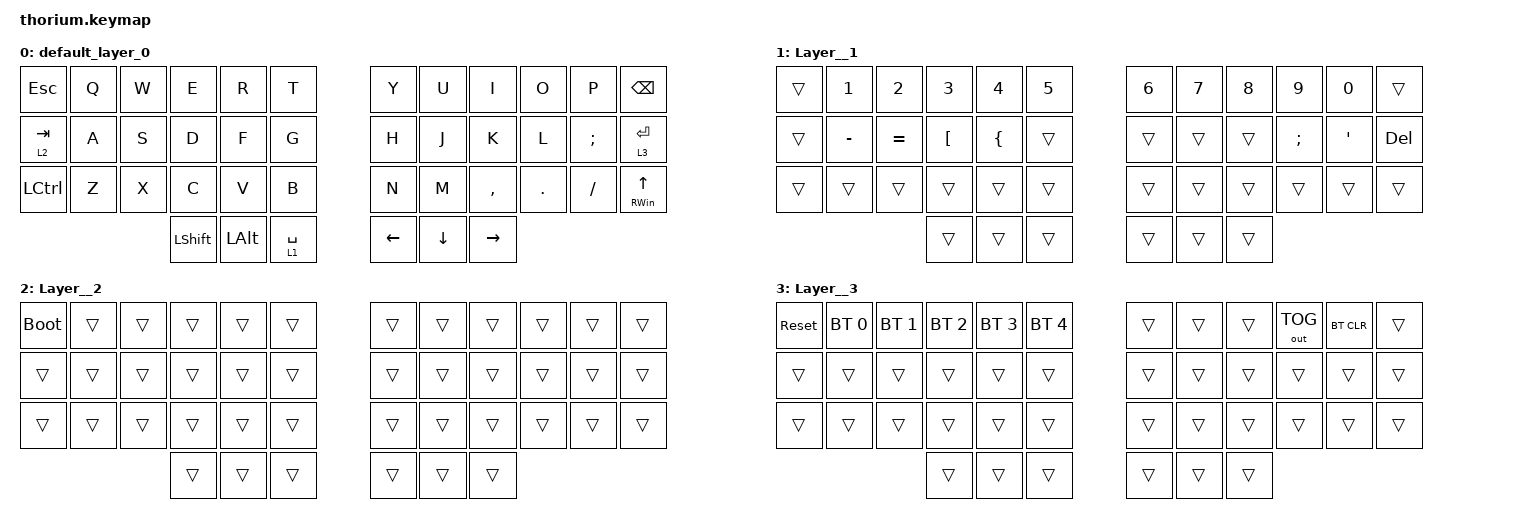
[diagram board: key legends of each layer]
/*
 * Copyright (c) 2020 The ZMK Contributors
 *
 * SPDX-License-Identifier: MIT
 */

#include <behaviors.dtsi>
#include <dt-bindings/zmk/bt.h>
#include <dt-bindings/zmk/keys.h>
#include <dt-bindings/zmk/outputs.h>

&mt {
    tapping-term-ms = <200>;
};

&lt {
    quick-tap-ms = <400>;
};

/ {
    keymap {
        compatible = "zmk,keymap";

        default_layer_0 {
            bindings = <
&kp ESC           &kp Q  &kp W  &kp E      &kp R     &kp T          &kp Y           &kp U     &kp I      &kp O    &kp P          &kp BSPC
&lt 2 TAB         &kp A  &kp S  &kp D      &kp F     &kp G          &kp H           &kp J     &kp K      &kp L    &kp SEMICOLON  &lt 3 RET
&kp LEFT_CONTROL  &kp Z  &kp X  &kp C      &kp V     &kp B          &kp N           &kp M     &kp COMMA  &kp DOT  &kp SLASH      &mt RWIN UP_ARROW
                                &kp LSHFT  &kp LALT  &lt 1 SPACE  &kp LEFT    &kp DOWN_ARROW  &kp RIGHT
            >;
        };

        Layer__1 {
            bindings = <
&trans  &kp N1     &kp N2     &kp N3    &kp N4    &kp N5    &kp N6  &kp N7  &kp N8  &kp N9    &kp N0   &trans
&trans  &kp MINUS  &kp EQUAL  &kp LBKT  &kp LBRC  &trans    &trans  &trans  &trans  &kp SEMI  &kp SQT  &kp DEL
&trans  &trans     &trans     &trans    &trans    &trans    &trans  &trans  &trans  &trans    &trans   &trans
                              &trans    &trans    &trans    &trans  &trans  &trans
            >;
        };

        Layer__2 {
            bindings = <
&bootloader  &trans  &trans  &trans  &trans  &trans    &trans  &trans  &trans  &trans  &trans  &trans
&trans       &trans  &trans  &trans  &trans  &trans    &trans  &trans  &trans  &trans  &trans  &trans
&trans       &trans  &trans  &trans  &trans  &trans    &trans  &trans  &trans  &trans  &trans  &trans
                             &trans  &trans  &trans    &trans  &trans  &trans
            >;
        };

        Layer__3 {
            bindings = <
&sys_reset  &bt BT_SEL 0  &bt BT_SEL 1  &bt BT_SEL 2  &bt BT_SEL 3  &bt BT_SEL 4    &trans  &trans  &trans  &out OUT_TOG  &bt BT_CLR  &trans
&trans      &trans        &trans        &trans        &trans        &trans          &trans  &trans  &trans  &trans        &trans      &trans
&trans      &trans        &trans        &trans        &trans        &trans          &trans  &trans  &trans  &trans        &trans      &trans
                                        &trans        &trans        &trans          &trans  &trans  &trans
            >;
        };
    };
};
